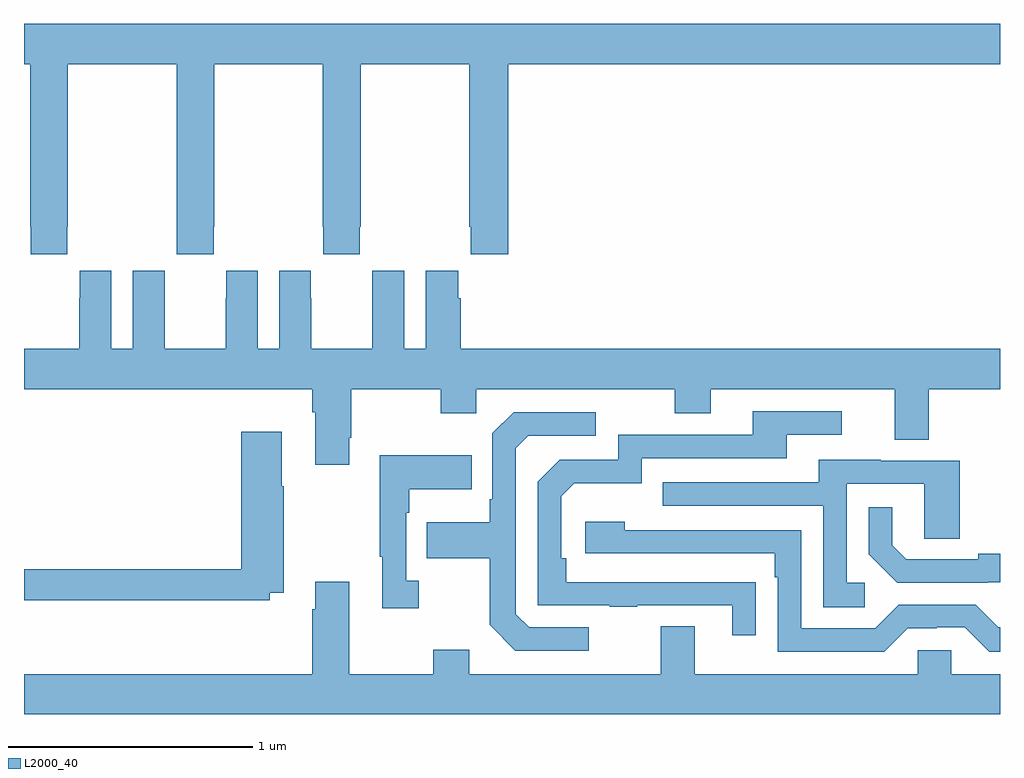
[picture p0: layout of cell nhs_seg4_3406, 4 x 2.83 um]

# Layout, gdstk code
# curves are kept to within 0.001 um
import gdstk
lib = gdstk.Library(unit=1e-6, precision=1e-09)
def P(c, l, *ps):  # polygons
    for p in ps: c.add(gdstk.Polygon(p, *l))
L2000_40 = (2000, 40)

nhs_seg4_3406 = lib.new_cell('nhs_seg4_3406')
P(nhs_seg4_3406, L2000_40, [(291.177,785.497),(291.18,785.497),(291.18,786.164),(291.625,786.164),(291.625,785.497),(291.627,785.497),(291.627,785.385),(291.777,785.385),(291.777,785.497),(291.78,785.497),(291.78,786.164),(292.225,786.164),(292.225,785.497),(292.227,785.497),(292.227,785.385),(292.377,785.385),(292.377,785.497),(292.38,785.497),(292.38,786.164),(292.825,786.164),(292.825,785.497),(292.831,785.497),(292.831,785.385),(292.985,785.385),(292.985,786.164),(295,786.164),(295,786.328),(291,786.328),(291,786.164),(291.025,786.164),(291.025,785.497),(291.027,785.497),(291.027,785.385),(291.177,785.385)],
  [(292.333,784.633),(292.341,784.633),(292.341,784.832),(292.708,784.832),(292.708,784.733),(292.854,784.733),(292.854,784.832),(293.668,784.832),(293.668,784.733),(293.815,784.733),(293.815,784.832),(294.569,784.832),(294.569,784.624),(294.709,784.624),(294.709,784.832),(295,784.832),(295,784.996),(292.79,784.996),(292.79,785.204),(292.78,785.204),(292.78,785.317),(292.646,785.317),(292.646,784.996),(292.558,784.996),(292.558,785.317),(292.428,785.317),(292.428,785.204),(292.427,785.204),(292.427,784.996),(292.177,784.996),(292.177,785.204),(292.176,785.204),(292.176,785.317),(292.046,785.317),(292.046,784.996),(291.958,784.996),(291.958,785.317),(291.828,785.317),(291.828,785.204),(291.827,785.204),(291.827,784.996),(291.577,784.996),(291.577,785.204),(291.576,785.204),(291.576,785.317),(291.446,785.317),(291.446,784.996),(291.358,784.996),(291.358,785.317),(291.228,785.317),(291.228,785.204),(291.227,785.204),(291.227,784.996),(291,784.996),(291,784.832),(292.181,784.832),(292.181,784.736),(292.193,784.736),(292.193,784.521),(292.333,784.521)],
  [(293.999,784.04),(293.222,784.041),(293.222,784.138),(293.202,784.138),(293.202,784.392),(293.255,784.445),(293.532,784.445),(293.532,784.548),(294.127,784.548),(294.127,784.644),(294.352,784.644),(294.352,784.74),(293.987,784.74),(293.987,784.644),(293.436,784.644),(293.436,784.542),(293.196,784.542),(293.106,784.452),(293.106,783.945),(293.401,783.945),(293.401,783.94),(293.513,783.94),(293.513,783.945),(293.903,783.945),(293.903,783.822),(293.999,783.822)],
  [(293.314,783.855),(293.07,783.855),(293.016,783.909),(293.016,784.59),(293.067,784.641),(293.344,784.641),(293.344,784.737),(293.007,784.737),(292.92,784.65),(292.92,784.381),(292.908,784.381),(292.908,784.285),(292.651,784.285),(292.651,784.138),(292.908,784.138),(292.908,783.865),(293.013,783.759),(293.314,783.759)],
  [(292.008,783.998),(292.065,783.998),(292.065,784.433),(292.057,784.433),(292.057,784.657),(291.89,784.657),(291.89,784.094),(291,784.094),(291,783.966),(292.008,783.966)],
  [(292.618,784.046),(292.566,784.046),(292.566,784.325),(292.579,784.325),(292.579,784.421),(292.835,784.421),(292.835,784.561),(292.458,784.561),(292.458,784.145),(292.469,784.145),(292.469,783.933),(292.618,783.933)],
  [(294.445,784.038),(294.372,784.038),(294.372,784.443),(294.69,784.443),(294.69,784.219),(294.835,784.219),(294.835,784.539),(294.511,784.539),(294.511,784.543),(294.257,784.543),(294.257,784.449),(293.617,784.449),(293.617,784.353),(294.276,784.353),(294.276,783.937),(294.445,783.937)],
  [(294.95,784.041),(295,784.041),(295,784.157),(294.911,784.157),(294.911,784.134),(294.616,784.134),(294.559,784.191),(294.559,784.348),(294.462,784.348),(294.462,784.154),(294.578,784.038),(294.95,784.038)],
  [(295,783.855),(294.993,783.855),(294.9,783.948),(294.585,783.948),(294.489,783.852),(294.186,783.852),(294.186,784.254),(293.462,784.254),(293.462,784.288),(293.301,784.288),(293.301,784.158),(294.077,784.158),(294.077,784.061),(294.09,784.061),(294.09,783.756),(294.525,783.756),(294.621,783.852),(294.74,783.852),(294.74,783.855),(294.855,783.855),(294.955,783.755),(295,783.755)],
  [(295,783.664),(294.801,783.664),(294.801,783.762),(294.663,783.762),(294.663,783.664),(293.749,783.664),(293.749,783.859),(293.609,783.859),(293.609,783.664),(292.825,783.664),(292.825,783.763),(292.678,783.763),(292.678,783.664),(292.333,783.664),(292.333,784.042),(292.193,784.042),(292.193,783.929),(292.181,783.929),(292.181,783.664),(291,783.664),(291,783.5),(295,783.5)])

lib.write_gds('nhs_seg4_3406.gds')
